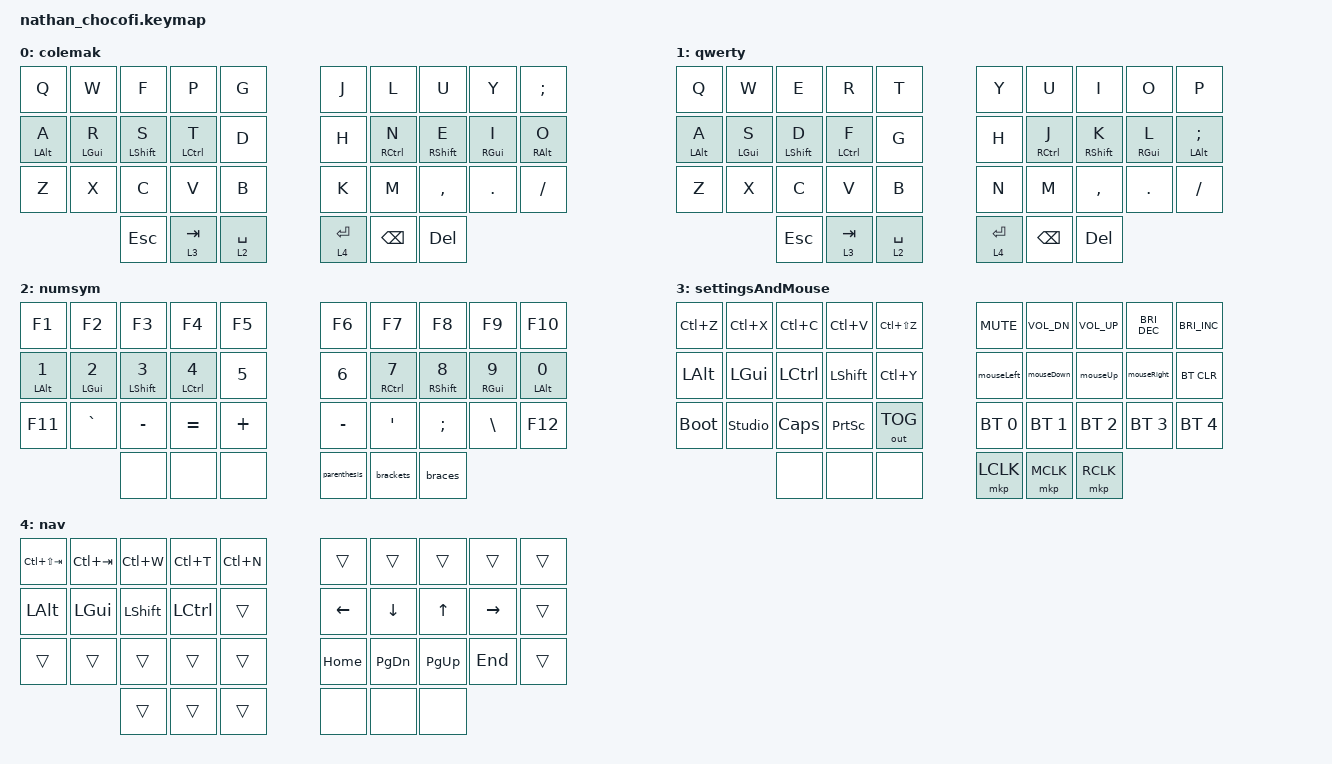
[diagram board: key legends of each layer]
/*
* Keymap configuration file
*/

#include <behaviors.dtsi>
#include <dt-bindings/zmk/bt.h>
#include <dt-bindings/zmk/keys.h>
#include <dt-bindings/zmk/outputs.h>
#include <dt-bindings/zmk/pointing.h>

&lt {
    quick-tap-ms = <175>;
    hold-trigger-on-release;
    retro-tap;
};

/ {
    combos {
        compatible = "zmk,combos";

        toggleQwerty {
            bindings = <&tog 1>;
            key-positions = <0 13 8>;
            layers = <0 1>;
        };
    };

    behaviors {
        HML: HML {
            compatible = "zmk,behavior-hold-tap";
            label = "HML";
            bindings = <&kp>, <&kp>;

            #binding-cells = <2>;
            tapping-term-ms = <280>;
            quick-tap-ms = <175>;
            flavor = "tap-preferred";
            require-prior-idle-ms = <125>;
            hold-trigger-key-positions = <30 31 32 33 25 34 5 6 7 8 9 15 16 17 18 19 25 26 27 28 29 33 34 35>;
            hold-trigger-on-release;
        };

        HMR: HMR {
            compatible = "zmk,behavior-hold-tap";
            label = "HMR";
            bindings = <&kp>, <&kp>;

            #binding-cells = <2>;
            tapping-term-ms = <280>;
            quick-tap-ms = <175>;
            flavor = "tap-preferred";
            require-prior-idle-ms = <125>;
            hold-trigger-on-release;
            hold-trigger-key-positions = <33 34 35 0 1 2 3 4 10 11 12 13 14 20 21 22 23 24 30 31 32>;
        };

        mouseUp: mouseUp {
            compatible = "zmk,behavior-mod-morph";
            label = "mouseUp";
            bindings = <&mmv MOVE_UP>, <&msc SCRL_UP>;

            #binding-cells = <0>;
            mods = <(MOD_LALT)>;
        };

        mouseDown: mouseDown {
            compatible = "zmk,behavior-mod-morph";
            label = "MOUSEDOWN";
            bindings = <&mmv MOVE_DOWN>, <&msc SCRL_DOWN>;

            #binding-cells = <0>;
            mods = <(MOD_LALT)>;
        };

        mouseLeft: mouseLeft {
            compatible = "zmk,behavior-mod-morph";
            label = "MOUSELEFT";
            bindings = <&mmv MOVE_LEFT>, <&msc SCRL_LEFT>;

            #binding-cells = <0>;
            mods = <(MOD_LALT)>;
        };

        mouseRight: mouseRight {
            compatible = "zmk,behavior-mod-morph";
            label = "MOUSERIGHT";
            bindings = <&mmv MOVE_RIGHT>, <&msc SCRL_RIGHT>;

            #binding-cells = <0>;
            mods = <(MOD_LALT)>;
        };

        parenthesis: parenthesis {
            compatible = "zmk,behavior-mod-morph";
            label = "PARENTHESIS";
            bindings = <&kp LEFT_PARENTHESIS>, <&kp RIGHT_PARENTHESIS>;

            #binding-cells = <0>;
            mods = <(MOD_LSFT|MOD_RSFT)>;
        };

        brackets: brackets {
            compatible = "zmk,behavior-mod-morph";
            label = "BRACKETS";
            bindings = <&kp LEFT_BRACKET>, <&kp RIGHT_BRACKET>;

            #binding-cells = <0>;
            mods = <(MOD_LSFT|MOD_RSFT)>;
        };

        braces: braces {
            compatible = "zmk,behavior-mod-morph";
            label = "BRACES";
            bindings = <&kp LEFT_BRACE>, <&kp RBRC>;

            #binding-cells = <0>;
            mods = <(MOD_LSFT|MOD_RSFT)>;
        };
    };

    keymap {
        compatible = "zmk,keymap";

        colemak {
            // -----------------------------------------------------------------------------------------
            // |  TAB |  Q  |  W  |  E  |  R  |  T  |   |  Y  |  U   |  I  |  O  |  P  | BSPC |
            // | CTRL |  A  |  S  |  D  |  F  |  G  |   |  H  |  J   |  K  |  L  |  ;  |  '   |
            // | SHFT |  Z  |  X  |  C  |  V  |  B  |   |  N  |  M   |  ,  |  .  |  /  | ESC  |
            //                    | GUI | LWR | SPC |   | ENT | RSE  | ALT |

            bindings = <
  &kp Q            &kp W            &kp F          &kp P         &kp G          &kp J        &kp L         &kp U               &kp Y             &kp SEMI
  &HML LEFT_ALT A  &HML LEFT_GUI R  &HML LSHIFT S  &HML LCTRL T  &kp D          &kp H        &HMR RCTRL N  &HMR RIGHT_SHIFT E  &HMR RIGHT_GUI I  &HMR RALT O
  &kp Z            &kp X            &kp C          &kp V         &kp B          &kp K        &kp M         &kp COMMA           &kp DOT           &kp FSLH
                                    &kp ESC        &lt 3 TAB     &lt 2 SPACE    &lt 4 ENTER  &kp BSPC      &kp DEL
            >;
        };

        qwerty {
            // -----------------------------------------------------------------------------------------
            // |  TAB |  1  |  2  |  3  |  4  |  5  |   |  6  |  7  |  8  |  9  |  0  | BSPC |
            // | BTCLR| BT1 | BT2 | BT3 | BT4 | BT5 |   | LFT | DWN |  UP | RGT |     |      |
            // | SHFT |     |     |     |     |     |   |     |     |     |     |     |      |
            //                    | GUI |     | SPC |   | ENT |     | ALT |

            bindings = <
  &kp Q        &kp W        &kp E          &kp R         &kp T          &kp Y        &kp U         &kp I         &kp O        &kp P
  &HML LALT A  &HML LGUI S  &HML LSHIFT D  &HML LCTRL F  &kp G          &kp H        &HMR RCTRL J  &HMR RSHFT K  &HMR RGUI L  &HMR LALT SEMICOLON
  &kp Z        &kp X        &kp C          &kp V         &kp B          &kp N        &kp M         &kp COMMA     &kp DOT      &kp FSLH
                            &kp ESC        &lt 3 TAB     &lt 2 SPACE    &lt 4 ENTER  &kp BSPC      &kp DEL
            >;
        };

        numsym {
            // -----------------------------------------------------------------------------------------
            // |  TAB |  !  |  @  |  #  |  $  |  %  |   |  ^  |  &  |  *  |  (  |  )  | BSPC |
            // | CTRL |     |     |     |     |     |   |  -  |  =  |  [  |  ]  |  \  |  `   |
            // | SHFT |     |     |     |     |     |   |  _  |  +  |  {  |  }  | "|" |  ~   |
            //                    | GUI |     | SPC |   | ENT |     | ALT |

            bindings = <
  &kp F1        &kp F2            &kp F3          &kp F4         &kp F5      &kp F6        &kp F7         &kp F8          &kp F9         &kp F10
  &HML LALT N1  &HML LEFT_GUI N2  &HML LSHIFT N3  &HMR LCTRL N4  &kp N5      &kp N6        &HMR RCTRL N7  &HMR RSHIFT N8  &HMR RGUI N9   &HMR LALT N0
  &kp F11       &kp GRAVE         &kp MINUS       &kp EQUAL      &kp PLUS    &kp MINUS     &kp SQT        &kp SEMICOLON   &kp BACKSLASH  &kp F12
                                  &none           &none          &none       &parenthesis  &brackets      &braces
            >;
        };

        settingsAndMouse {
            bindings = <
  &kp LC(Z)    &kp LC(X)       &kp LC(C)  &kp LC(V)        &kp LC(LS(Z))    &kp C_MUTE    &kp C_VOL_DN  &kp C_VOLUME_UP  &kp C_BRIGHTNESS_DEC  &kp C_BRIGHTNESS_INC
  &kp LALT     &kp LEFT_GUI    &kp LCTRL  &kp LSHFT        &kp LC(Y)        &mouseLeft    &mouseDown    &mouseUp         &mouseRight           &bt BT_CLR
  &bootloader  &studio_unlock  &kp CAPS   &kp PRINTSCREEN  &out OUT_TOG     &bt BT_SEL 0  &bt BT_SEL 1  &bt BT_SEL 2     &bt BT_SEL 3          &bt BT_SEL 4
                               &none      &none            &none            &mkp LCLK     &mkp MCLK     &mkp RCLK
            >;
        };

        nav {
            bindings = <
  &kp LC(LS(TAB))  &kp LC(TAB)   &kp LC(W)       &kp LC(T)  &kp LC(N)    &trans    &trans         &trans       &trans     &trans
  &kp LEFT_ALT     &kp LEFT_GUI  &kp LEFT_SHIFT  &kp LCTRL  &trans       &kp LEFT  &kp DOWN       &kp UP       &kp RIGHT  &trans
  &trans           &trans        &trans          &trans     &trans       &kp HOME  &kp PAGE_DOWN  &kp PAGE_UP  &kp END    &trans
                                 &trans          &trans     &trans       &none     &none          &none
            >;
        };
    };
};
